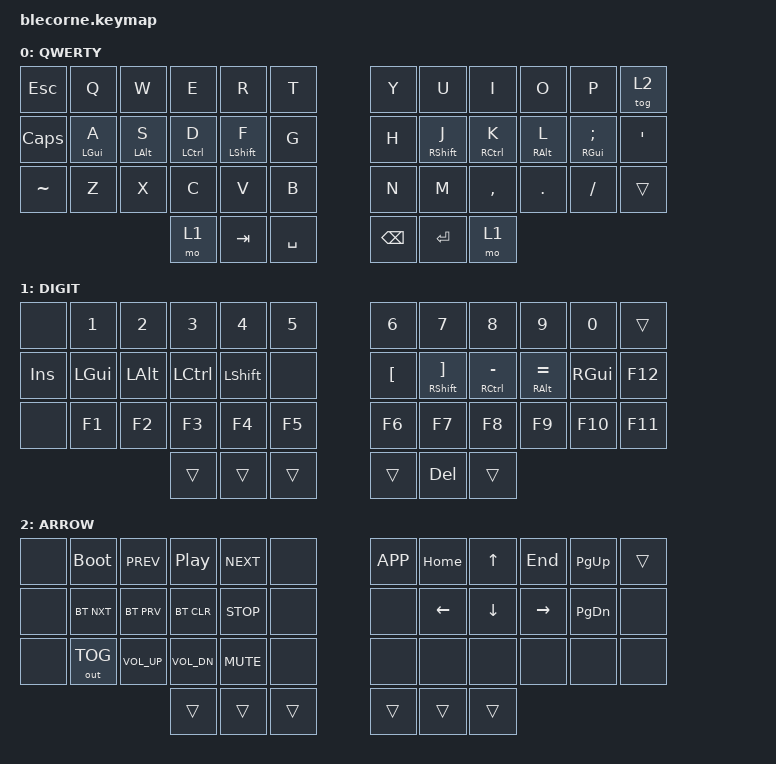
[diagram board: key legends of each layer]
/*
 * Copyright (c) 2020 The ZMK Contributors
 * SPDX-License-Identifier: MIT
 */

#include <behaviors.dtsi>
#include <dt-bindings/zmk/keys.h>
#include <dt-bindings/zmk/bt.h>'
#include <dt-bindings/zmk/outputs.h>

#define QWERTY 0
#define TOPROWS 1
#define PADSET 2

&lt {
    quick-tap-ms = <200>;
};

/ {
    chosen {
        zmk,physical-layout = &foostan_corne_6col_layout;
        // zmk,physical-layout = &foostan_corne_5col_layout;
    };
};

/ {
	behaviors {
		hm: homerow_mods {
			compatible = "zmk,behavior-hold-tap";
			label = "HOMEROW_MODS";
			#binding-cells = <2>;
			tapping_term_ms = <200>;
			quick-tap-ms = <200>;
			flavor = "tap-preferred";
			bindings = <&kp>, <&kp>;
		};
	};

    keymap {
        compatible = "zmk,keymap";

        default_layer {
	    display-name = "QWERTY";
            bindings = <
                &kp ESC   &kp Q      &kp W      &kp E       &kp R       &kp T     &kp Y     &kp U       &kp I       &kp O      &kp P         &tog 2 
                &kp CAPS  &hm LGUI A &hm LALT S &hm LCTRL D &hm LSHFT F &kp G     &kp H     &hm RSHFT J &hm RCTRL K &hm RALT L &hm RGUI SEMI &kp SQT
                &kp TILDE &kp Z      &kp X      &kp C       &kp V       &kp B     &kp N     &kp M       &kp COMMA   &kp DOT    &kp FSLH      &trans
                                                &mo 1       &kp TAB     &kp SPACE &kp BSPC  &kp RET     &mo 1 
            >;
        };
        lower_layer {
	    display-name = "DIGIT";
            bindings = <
                &none    &kp N1    &kp N2   &kp N3    &kp N4   &kp N5 &kp N6   &kp N7         &kp N8          &kp N9       &kp N0   &trans
                &kp INS  &kp LGUI &kp LALT &kp LCTRL &kp LSHFT &none  &kp LBKT &hm RSHFT RBKT &hm RCTRL MINUS &hm RALT EQL &kp RGUI &kp F12
                &none    &kp F1   &kp F2   &kp F3    &kp F4    &kp F5 &kp F6   &kp F7         &kp F8          &kp F9       &kp F10  &kp F11
                                           &trans    &trans    &trans &trans   &kp DEL        &trans
            >;
        };

        raise_layer {
	    display-name = "ARROW";
            bindings = <
                &none &bootloader  &kp C_PREV   &kp C_PP     &kp C_NEXT &none  	&kp K_APP &kp HOME &kp UP   &kp END   &kp PG_UP &trans
                &none &bt BT_NXT   &bt BT_PRV   &bt BT_CLR   &kp C_STOP &none  	&none     &kp LEFT &kp DOWN &kp RIGHT &kp PG_DN &none
                &none &out OUT_TOG &kp C_VOL_UP &kp C_VOL_DN &kp C_MUTE &none  	&none     &none    &none    &none     &none     &none
                                                &trans       &trans     &trans 	&trans    &trans   &trans
            >;
        };
    };
};
